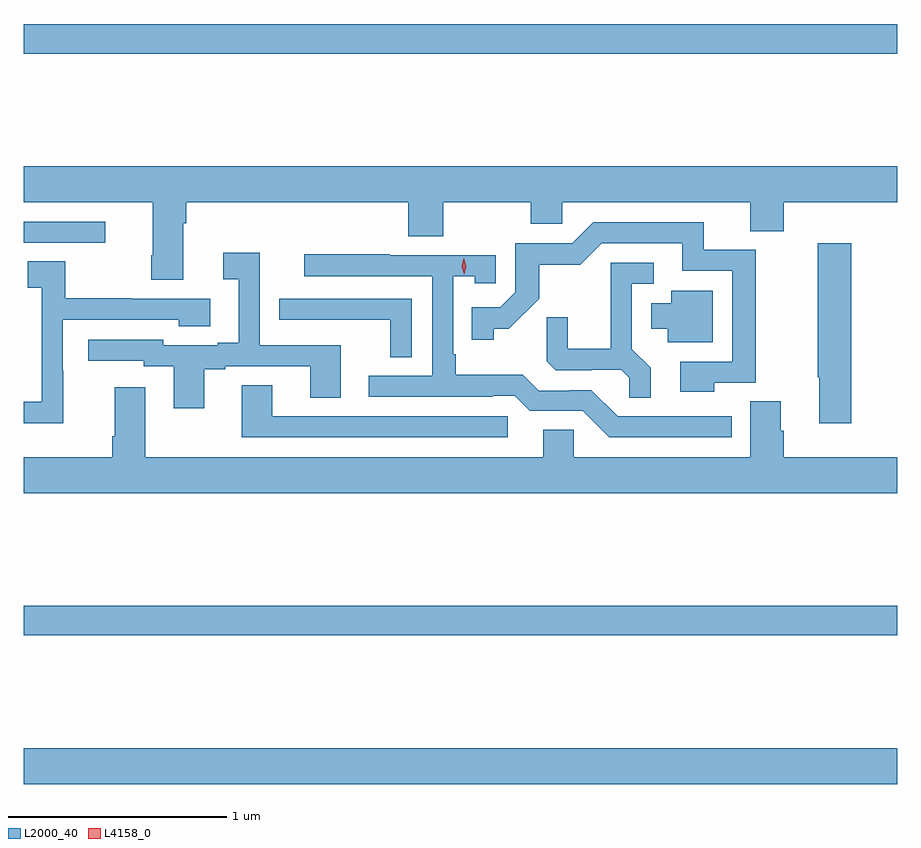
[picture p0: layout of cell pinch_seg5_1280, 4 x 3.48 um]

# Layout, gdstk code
import gdstk
lib = gdstk.Library(unit=1e-6, precision=1e-09)
def R(c, l, rs):  # rectangles x0, y0, x1, y1
    for r in rs: c.add(gdstk.rectangle(r[:2], r[2:], *l))
def P(c, l, *ps):  # polygons
    for p in ps: c.add(gdstk.Polygon(p, *l))
L2000_40 = (2000, 40)
L4158_0 = (4158, 0)

pinch_seg5_1280 = lib.new_cell('pinch_seg5_1280')
R(pinch_seg5_1280, L2000_40, [(394.586,862.088,398.586,862.252), (394.586,862.768,398.586,862.904), (394.586,864.567,394.96,864.663), (394.586,865.432,398.586,865.568)])
P(pinch_seg5_1280, L2000_40, [(395.317,864.656),(395.33,864.656),(395.33,864.752),(396.347,864.752),(396.347,864.595),(396.507,864.595),(396.507,864.752),(396.907,864.752),(396.907,864.654),(397.053,864.654),(397.053,864.752),(397.913,864.752),(397.913,864.619),(398.066,864.619),(398.066,864.752),(398.586,864.752),(398.586,864.916),(394.586,864.916),(394.586,864.752),(395.177,864.752),(395.177,864.508),(395.17,864.508),(395.17,864.396),(395.317,864.396)],
  [(397.749,863.925),(397.939,863.925),(397.939,864.534),(397.7,864.534),(397.7,864.66),(397.194,864.66),(397.098,864.564),(396.837,864.564),(396.837,864.339),(396.768,864.27),(396.637,864.27),(396.637,864.123),(396.738,864.123),(396.738,864.173),(396.808,864.173),(396.946,864.31),(396.946,864.466),(397.135,864.466),(397.233,864.564),(397.601,864.564),(397.601,864.438),(397.83,864.438),(397.83,864.021),(397.593,864.021),(397.593,863.885),(397.749,863.885)],
  [(398.375,864.565),(398.221,864.565),(398.221,863.951),(398.228,863.951),(398.228,863.739),(398.375,863.739)],
  [(395.413,863.988),(395.509,863.988),(395.509,864),(395.897,864),(395.897,863.857),(396.037,863.857),(396.037,864.096),(395.667,864.096),(395.667,864.52),(395.499,864.52),(395.499,864.4),(395.57,864.4),(395.57,864.109),(395.474,864.109),(395.474,864.096),(395.226,864.096),(395.226,864.123),(394.881,864.123),(394.881,864.027),(395.136,864.027),(395.136,864),(395.273,864),(395.273,863.808),(395.413,863.808)],
  [(397.828,863.772),(397.305,863.772),(397.185,863.892),(397.084,863.892),(397.084,863.889),(396.945,863.889),(396.872,863.962),(396.565,863.962),(396.565,864.055),(396.552,864.055),(396.552,864.413),(396.651,864.413),(396.651,864.381),(396.747,864.381),(396.747,864.51),(396.263,864.51),(396.263,864.513),(395.871,864.513),(395.871,864.414),(396.456,864.414),(396.456,863.958),(396.165,863.958),(396.165,863.862),(396.734,863.862),(396.734,863.865),(396.834,863.865),(396.903,863.796),(397.146,863.796),(397.266,863.676),(397.828,863.676)],
  [(394.767,863.981),(394.764,863.981),(394.764,864.213),(395.295,864.213),(395.295,864.185),(395.44,864.185),(395.44,864.309),(395.081,864.309),(395.081,864.312),(394.777,864.312),(394.777,864.482),(394.605,864.482),(394.605,864.361),(394.668,864.361),(394.668,863.839),(394.586,863.839),(394.586,863.741),(394.767,863.741)],
  [(397.457,863.993),(397.371,864.079),(397.371,864.378),(397.471,864.378),(397.471,864.474),(397.274,864.474),(397.274,864.082),(397.076,864.082),(397.076,864.225),(396.982,864.225),(396.982,864.023),(397.023,863.982),(397.188,863.982),(397.188,863.985),(397.322,863.985),(397.359,863.948),(397.359,863.857),(397.457,863.857)],
  [(397.741,864.346),(397.55,864.346),(397.55,864.289),(397.46,864.289),(397.46,864.173),(397.535,864.173),(397.535,864.11),(397.741,864.11)],
  [(396.363,864.309),(395.757,864.309),(395.757,864.214),(395.869,864.214),(395.869,864.213),(396.265,864.213),(396.265,864.043),(396.363,864.043)],
  [(396.802,863.772),(395.725,863.772),(395.725,863.915),(395.585,863.915),(395.585,863.676),(396.802,863.676)],
  [(398.586,863.584),(398.066,863.584),(398.066,863.706),(398.053,863.706),(398.053,863.84),(397.913,863.84),(397.913,863.584),(397.104,863.584),(397.104,863.711),(396.965,863.711),(396.965,863.584),(395.143,863.584),(395.143,863.905),(395.003,863.905),(395.003,863.68),(394.991,863.68),(394.991,863.584),(394.586,863.584),(394.586,863.42),(398.586,863.42)])
P(pinch_seg5_1280, L4158_0, [(396.603,864.422),(396.603,864.423),(396.592,864.458),(396.602,864.495),(396.602,864.495),(396.602,864.495),(396.612,864.459),(396.603,864.423)])

lib.write_gds('pinch_seg5_1280.gds')
